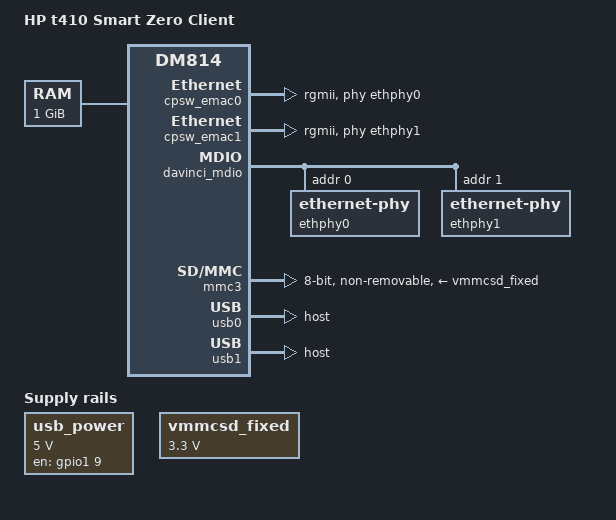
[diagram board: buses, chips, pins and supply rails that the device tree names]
// SPDX-License-Identifier: GPL-2.0-only
/dts-v1/;

#include "dm814x.dtsi"

/ {
	model = "HP t410 Smart Zero Client";
	compatible = "hp,t410", "ti,dm8148", "ti,dm814";

	memory@80000000 {
		device_type = "memory";
		reg = <0x80000000 0x40000000>;	/* 1 GB */
	};

	/* gpio9 seems to control USB VBUS regulator and/or hub power */
	usb_power: regulator@9 {
		compatible = "regulator-fixed";
		regulator-name = "usb_power";
		regulator-min-microvolt = <5000000>;
		regulator-max-microvolt = <5000000>;
		gpio = <&gpio1 9 GPIO_ACTIVE_HIGH>;
		enable-active-high;
		regulator-always-on;
	};

	vmmcsd_fixed: fixedregulator0 {
		compatible = "regulator-fixed";
		regulator-name = "vmmcsd_fixed";
		regulator-min-microvolt = <3300000>;
		regulator-max-microvolt = <3300000>;
	};
};

&cpsw_emac0 {
	phy-handle = <&ethphy0>;
	phy-mode = "rgmii";
};

&cpsw_emac1 {
	phy-handle = <&ethphy1>;
	phy-mode = "rgmii";
};

&davinci_mdio {
	ethphy0: ethernet-phy@0 {
		reg = <0>;
	};

	ethphy1: ethernet-phy@1 {
		reg = <1>;
	};
};

&mmc1 {
	status = "disabled";
};

&mmc2 {
	status = "disabled";
};

&mmc3 {
	pinctrl-names = "default";
	pinctrl-0 = <&sd2_pins>;
	vmmc-supply = <&vmmcsd_fixed>;
	bus-width = <8>;
	dmas = <&edma_xbar 8 0 1	/* use SDTXEVT1 instead of MCASP0TX */
		&edma_xbar 9 0 2>;	/* use SDRXEVT1 instead of MCASP0RX */
	dma-names = "tx", "rx";
	non-removable;
};

&pincntl {
	sd2_pins: pinmux_sd2_pins {
		pinctrl-single,pins = <
			DM814X_IOPAD(0x09c0, PIN_INPUT_PULLUP | 0x1)	/* SD2_DAT[7] */
			DM814X_IOPAD(0x09c4, PIN_INPUT_PULLUP | 0x1)	/* SD2_DAT[6] */
			DM814X_IOPAD(0x09c8, PIN_INPUT_PULLUP | 0x1)	/* SD2_DAT[5] */
			DM814X_IOPAD(0x09cc, PIN_INPUT_PULLUP | 0x1)	/* SD2_DAT[4] */
			DM814X_IOPAD(0x09d0, PIN_INPUT_PULLUP | 0x1)	/* SD2_DAT[3] */
			DM814X_IOPAD(0x09d4, PIN_INPUT_PULLUP | 0x1)	/* SD2_DAT[2] */
			DM814X_IOPAD(0x09d8, PIN_INPUT_PULLUP | 0x1)	/* SD2_DAT[1] */
			DM814X_IOPAD(0x09dc, PIN_INPUT_PULLUP | 0x1)	/* SD2_DAT[0] */
			DM814X_IOPAD(0x09e0, PIN_INPUT | 0x1)		/* SD2_CLK */
			DM814X_IOPAD(0x09f4, PIN_INPUT_PULLUP | 0x2)	/* SD2_CMD */
			DM814X_IOPAD(0x0920, PIN_INPUT | 0x40)	/* SD2_SDCD */
			>;
	};

	usb0_pins: pinmux_usb0_pins {
		pinctrl-single,pins = <
			DM814X_IOPAD(0x0c34, PIN_OUTPUT | 0x1)	/* USB0_DRVVBUS */
			>;
	};

	usb1_pins: pinmux_usb1_pins {
		pinctrl-single,pins = <
			DM814X_IOPAD(0x0834, PIN_OUTPUT | 0x80)	/* USB1_DRVVBUS */
			>;
	};
};

&usb0 {
	pinctrl-names = "default";
	pinctrl-0 = <&usb0_pins>;
	dr_mode = "host";
};

&usb1 {
	pinctrl-names = "default";
	pinctrl-0 = <&usb1_pins>;
	dr_mode = "host";
};
